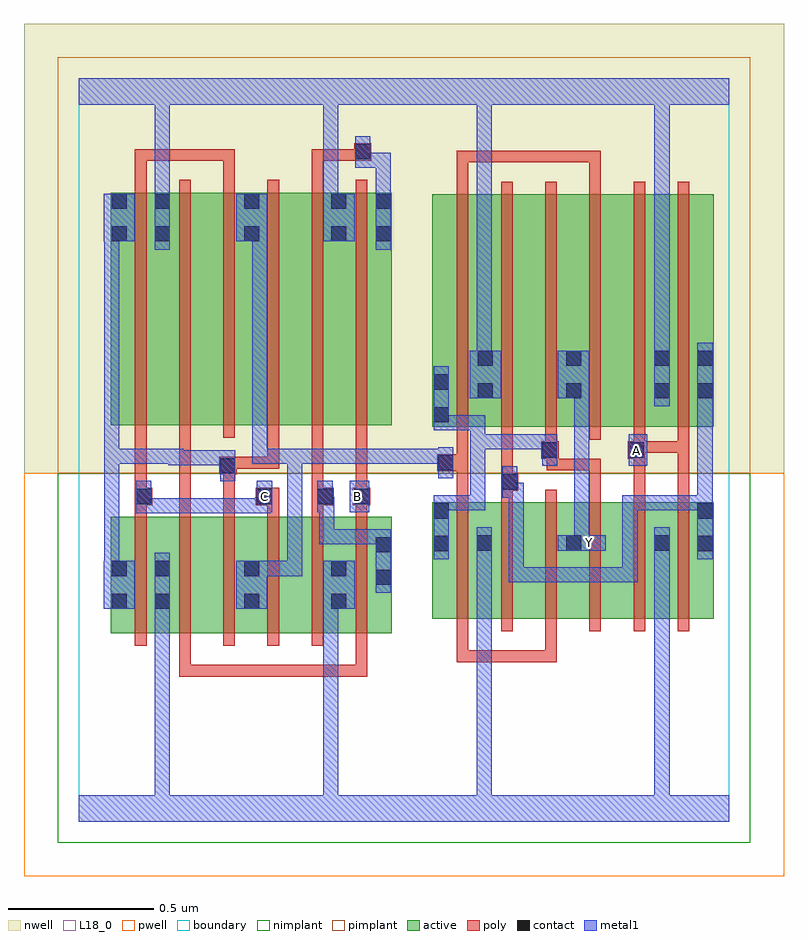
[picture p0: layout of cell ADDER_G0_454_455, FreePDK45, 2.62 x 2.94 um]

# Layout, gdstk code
import gdstk
lib = gdstk.Library(unit=1e-6, precision=1e-09)
def R(c, l, rs):  # rectangles x0, y0, x1, y1
    for r in rs: c.add(gdstk.rectangle(r[:2], r[2:], *l))
def A(c, l, x, y, w, h, nx, ny, dx, dy):  # array of equal rectangles
    R(c, l, [(x+i*dx, y+j*dy, x+i*dx+w, y+j*dy+h) for i in range(nx) for j in range(ny)])
active = (1, 0)
pwell = (2, 0)
nwell = (3, 0)
nimplant = (4, 0)
pimplant = (5, 0)
poly = (9, 0)
contact = (10, 0)
metal1 = (11, 0)
L18_0 = (18, 0)
boundary = (235, 0)

adder_g0_454_455 = lib.new_cell('ADDER_G0_454_455')
R(adder_g0_454_455, active, [(0.11,0.65,0.17,1.05), (0.11,0.65,0.318,1.05), (0.258,0.65,0.442,1.05), (0.258,0.65,0.318,0.902), (0.442,0.65,0.626,1.05), (0.566,0.65,0.746,1.05), (0.566,0.65,0.626,0.902), (0.746,0.65,0.926,1.05), (0.866,0.65,1.078,1.05), (0.866,0.65,0.926,0.902), (1.018,0.65,1.078,1.05), (1.218,0.7,1.278,1.1), (1.218,0.7,1.426,1.1), (1.366,0.7,1.426,0.99), (1.366,0.7,1.55,1.1), (1.55,0.7,1.734,1.1), (1.674,0.7,1.734,1.1), (1.674,0.7,1.854,1.1), (1.854,0.7,2.038,1.1), (1.978,0.7,2.186,1.1), (1.978,0.7,2.038,0.99), (2.126,0.7,2.186,1.1), (1.218,1.36,1.278,2.044), (1.218,1.36,1.43,2.16), (1.37,1.36,1.43,2.044), (1.37,1.36,1.55,2.16), (1.55,1.36,1.734,2.16), (1.674,1.36,1.734,2.044), (1.674,1.36,1.854,2.16), (1.854,1.36,2.038,2.16), (1.978,1.36,2.186,2.16), (1.978,1.36,2.038,2.16), (2.126,1.36,2.186,2.044), (0.11,1.366,0.318,2.166), (0.11,1.366,0.17,2.166), (0.258,1.366,0.318,2.166), (0.258,1.366,0.442,2.166), (0.442,1.366,0.626,2.166), (0.566,1.366,0.626,2.166), (0.566,1.366,0.746,2.166), (0.746,1.366,0.926,2.166), (0.866,1.366,0.926,2.166), (0.866,1.366,1.078,2.166), (1.018,1.366,1.078,2.166)])
R(adder_g0_454_455, pwell, [(-0.188,-0.188,2.428,1.2)])
R(adder_g0_454_455, nwell, [(-0.188,1.2,2.428,2.748)])
R(adder_g0_454_455, nimplant, [(-0.072,-0.072,2.312,1.2)])
R(adder_g0_454_455, pimplant, [(-0.072,1.2,2.312,2.632)])
A(adder_g0_454_455, poly, 0.194, 0.606, 0.04, 0.488, 6, 1, 0.152, 0)
A(adder_g0_454_455, poly, 1.302, 0.656, 0.04, 0.488, 6, 1, 0.152, 0)
A(adder_g0_454_455, poly, 0.65, 1.054, 0.04, 0.076, 3, 1, 0.152, 0)
A(adder_g0_454_455, poly, 1.302, 1.316, 0.04, 0.888, 6, 1, 0.152, 0)
A(adder_g0_454_455, poly, 0.194, 1.322, 0.04, 0.888, 6, 1, 0.152, 0)
A(adder_g0_454_455, poly, 0.194, 2.17, 0.04, 0.146, 3, 1, 0.304, 0)
A(adder_g0_454_455, poly, 0.194, 2.276, 0.04, 0.04, 3, 1, 0.152, 0)
R(adder_g0_454_455, poly, [(0.346,0.5,0.386,0.54), (0.346,0.5,0.386,0.646), (0.346,0.5,0.492,0.54), (0.452,0.5,0.492,0.54), (0.452,0.5,0.492,0.54), (0.452,0.5,0.492,0.54), (0.452,0.5,0.65,0.54), (0.61,0.5,0.65,0.54), (0.61,0.5,0.65,0.54), (0.61,0.5,0.65,0.54), (0.61,0.5,0.878,0.54), (0.838,0.5,0.878,0.54), (0.838,0.5,0.878,0.54), (0.838,0.5,0.878,0.54), (0.838,0.5,0.994,0.54), (0.954,0.5,0.994,0.54), (0.954,0.5,0.994,0.54), (0.954,0.5,0.994,0.54), (0.954,0.5,0.994,0.646), (1.302,0.55,1.342,0.59), (1.302,0.55,1.342,0.59), (1.302,0.55,1.342,0.59), (1.302,0.55,1.342,0.696), (1.302,0.55,1.448,0.59), (1.408,0.55,1.448,0.59), (1.408,0.55,1.448,0.59), (1.408,0.55,1.448,0.59), (1.408,0.55,1.646,0.59), (1.606,0.55,1.646,0.59), (1.606,0.55,1.646,0.696), (0.194,1.054,0.234,1.13), (0.346,1.054,0.386,1.2), (0.498,1.054,0.538,1.236), (0.194,1.09,0.254,1.15), (0.61,1.09,0.69,1.15), (0.802,1.09,0.878,1.15), (0.944,1.09,1.004,1.15), (1.302,1.104,1.342,1.246), (1.454,1.104,1.494,1.18), (1.758,1.104,1.798,1.25), (1.91,1.104,1.95,1.29), (2.062,1.104,2.102,1.31), (0.194,1.11,0.234,1.15), (0.194,1.11,0.234,1.15), (0.194,1.11,0.234,1.362), (0.802,1.11,0.842,1.15), (0.802,1.11,0.842,1.15), (0.802,1.11,0.842,1.362), (0.954,1.11,0.994,1.15), (0.954,1.11,0.994,1.15), (0.954,1.11,0.994,1.362), (1.454,1.14,1.514,1.2), (0.346,1.16,0.386,1.2), (0.346,1.16,0.386,1.2), (0.346,1.16,0.386,1.2), (0.346,1.16,0.386,1.362), (1.454,1.16,1.494,1.2), (1.454,1.16,1.494,1.2), (1.454,1.16,1.494,1.356), (0.484,1.196,0.544,1.256), (0.498,1.196,0.538,1.236), (0.498,1.196,0.538,1.236), (1.234,1.206,1.342,1.266), (1.302,1.206,1.342,1.246), (1.302,1.206,1.342,1.246), (1.612,1.21,1.798,1.25), (1.612,1.21,1.652,1.29), (1.758,1.21,1.798,1.25), (1.758,1.21,1.798,1.25), (1.758,1.21,1.798,1.25), (0.504,1.216,0.69,1.256), (0.65,1.216,0.69,1.256), (0.65,1.216,0.69,1.256), (0.65,1.216,0.69,1.256), (0.65,1.216,0.69,1.362), (1.302,1.226,1.342,1.356), (1.592,1.25,1.652,1.31), (1.612,1.25,1.652,1.29), (1.89,1.25,1.95,1.31), (1.606,1.27,1.646,1.356), (1.91,1.27,1.95,1.356), (1.91,1.27,1.95,1.31), (1.91,1.27,1.95,1.31), (1.91,1.27,2.102,1.31), (2.062,1.27,2.102,1.356), (2.062,1.27,2.102,1.31), (2.062,1.27,2.102,1.31), (2.062,1.27,2.102,1.31), (2.062,1.27,2.102,1.31), (2.062,1.27,2.102,1.31), (1.302,2.164,1.342,2.31), (1.758,2.164,1.798,2.31), (1.302,2.27,1.342,2.31), (1.302,2.27,1.342,2.31), (1.302,2.27,1.342,2.31), (1.302,2.27,1.526,2.31), (1.486,2.27,1.526,2.31), (1.486,2.27,1.526,2.31), (1.486,2.27,1.526,2.31), (1.486,2.27,1.692,2.31), (1.652,2.27,1.692,2.31), (1.652,2.27,1.798,2.31), (1.758,2.27,1.798,2.31), (1.758,2.27,1.798,2.31), (1.758,2.27,1.798,2.31), (0.194,2.276,0.234,2.316), (0.194,2.276,0.234,2.316), (0.194,2.276,0.386,2.316), (0.346,2.276,0.538,2.316), (0.498,2.276,0.538,2.316), (0.498,2.276,0.538,2.316), (0.802,2.276,0.842,2.316), (0.802,2.276,0.988,2.316), (0.948,2.276,0.988,2.316), (0.948,2.276,0.988,2.316), (0.948,2.276,1.008,2.336)])
A(adder_g0_454_455, contact, 1.374, 1.458, 0.052, 0.052, 3, 2, 0.304, 0.112)
R(adder_g0_454_455, contact, [(0.114,0.734,0.166,0.786), (0.262,0.734,0.314,0.786), (0.57,0.734,0.622,0.786), (0.87,0.734,0.922,0.786), (1.022,0.816,1.074,0.868), (0.114,0.846,0.166,0.898), (0.262,0.846,0.314,0.898), (0.57,0.846,0.622,0.898), (0.87,0.846,0.922,0.898), (1.022,0.928,1.074,0.98), (1.222,0.932,1.274,0.984), (2.13,0.932,2.182,0.984), (1.37,0.934,1.422,0.986), (1.678,0.934,1.73,0.986), (1.982,0.934,2.034,0.986), (1.222,1.044,1.274,1.096), (2.13,1.044,2.182,1.096), (0.198,1.094,0.25,1.146), (0.614,1.094,0.666,1.146), (0.822,1.094,0.874,1.146), (0.948,1.094,1,1.146), (1.458,1.144,1.51,1.196), (0.488,1.2,0.54,1.252), (1.238,1.21,1.29,1.262), (1.596,1.254,1.648,1.306), (1.894,1.254,1.946,1.306), (1.222,1.376,1.274,1.428), (2.13,1.458,2.182,1.51), (1.222,1.488,1.274,1.54), (2.13,1.57,2.182,1.622), (0.114,1.998,0.166,2.05), (0.262,1.998,0.314,2.05), (0.57,1.998,0.622,2.05), (0.87,1.998,0.922,2.05), (1.022,1.998,1.074,2.05), (0.114,2.11,0.166,2.162), (0.262,2.11,0.314,2.162), (0.57,2.11,0.622,2.162), (0.87,2.11,0.922,2.162), (1.022,2.11,1.074,2.162), (0.952,2.28,1.004,2.332)])
A(adder_g0_454_455, metal1, 0.088, 1.232, 0.052, 0.052, 3, 1, 0.11, 0)
R(adder_g0_454_455, metal1, [(0,0,2.24,0.092), (0.262,0.04,0.314,0.092), (0.262,0.04,0.314,0.092), (0.262,0.04,0.314,0.092), (0.262,0.04,0.314,0.092), (0.262,0.04,0.314,0.092), (0.262,0.04,0.314,0.092), (0.262,0.04,0.314,0.092), (0.262,0.04,0.314,0.092), (0.262,0.04,0.314,0.092), (0.262,0.04,0.314,0.092), (0.262,0.04,0.314,0.758), (0.842,0.04,0.894,0.092), (0.842,0.04,0.894,0.092), (0.842,0.04,0.894,0.092), (0.842,0.04,0.894,0.092), (0.842,0.04,0.894,0.092), (0.842,0.04,0.894,0.092), (0.842,0.04,0.894,0.092), (0.842,0.04,0.894,0.092), (0.842,0.04,0.894,0.092), (0.842,0.04,0.894,0.092), (0.842,0.04,0.894,0.092), (0.842,0.04,0.894,0.092), (0.842,0.04,0.894,0.786), (1.37,0.04,1.422,0.092), (1.37,0.04,1.422,0.092), (1.37,0.04,1.422,0.092), (1.37,0.04,1.422,0.092), (1.37,0.04,1.422,0.092), (1.37,0.04,1.422,0.092), (1.37,0.04,1.422,0.092), (1.37,0.04,1.422,0.092), (1.37,0.04,1.422,0.092), (1.37,0.04,1.422,0.092), (1.37,0.04,1.422,0.092), (1.37,0.04,1.422,0.092), (1.37,0.04,1.422,0.958), (1.982,0.04,2.034,0.092), (1.982,0.04,2.034,0.092), (1.982,0.04,2.034,0.092), (1.982,0.04,2.034,0.092), (1.982,0.04,2.034,0.092), (1.982,0.04,2.034,0.092), (1.982,0.04,2.034,0.092), (1.982,0.04,2.034,0.092), (1.982,0.04,2.034,0.958), (0.262,0.706,0.314,0.926), (0.262,0.706,0.314,0.758), (0.262,0.706,0.314,0.758), (0.086,0.734,0.194,0.898), (0.542,0.734,0.65,0.898), (0.842,0.734,0.95,0.898), (1.022,0.788,1.074,1.008), (1.48,0.824,1.532,0.876), (1.48,0.824,1.532,0.876), (1.48,0.824,1.532,0.876), (1.48,0.824,1.704,0.876), (1.48,0.824,1.532,1.168), (1.652,0.824,1.704,0.876), (1.652,0.824,1.814,0.876), (1.762,0.824,1.814,0.876), (1.762,0.824,1.814,0.876), (1.762,0.824,1.814,0.876), (1.762,0.824,1.924,0.876), (1.872,0.824,1.924,0.876), (1.872,0.824,1.924,1.124), (0.088,0.846,0.14,0.898), (0.088,0.846,0.14,0.898), (0.088,0.846,0.14,1.284), (0.598,0.846,0.65,0.898), (0.598,0.846,0.65,0.898), (0.598,0.846,0.77,0.898), (0.718,0.846,0.77,0.898), (0.718,0.846,0.77,1.284), (1.222,0.904,1.274,1.124), (2.13,0.904,2.182,1.124), (1.37,0.906,1.422,1.014), (1.982,0.906,2.034,0.958), (1.982,0.906,2.034,0.958), (1.982,0.906,2.034,0.958), (1.982,0.906,2.034,0.958), (1.982,0.906,2.034,1.014), (1.65,0.934,1.758,0.986), (1.706,0.934,1.758,0.986), (1.706,0.934,1.758,1.51), (1.706,0.934,1.814,0.986), (0.828,0.956,0.88,1.008), (0.828,0.956,1.074,1.008), (0.828,0.956,0.88,1.118), (1.022,0.956,1.074,1.008), (1.022,0.956,1.074,1.008), (0.198,1.062,0.25,1.118), (0.198,1.062,0.43,1.114), (0.378,1.062,0.43,1.114), (0.378,1.062,0.43,1.114), (0.378,1.062,0.43,1.114), (0.378,1.062,0.54,1.114), (0.488,1.062,0.54,1.114), (0.488,1.062,0.66,1.114), (0.608,1.062,0.66,1.118), (0.198,1.066,0.25,1.118), (0.198,1.066,0.25,1.174), (0.608,1.066,0.666,1.118), (0.614,1.066,0.666,1.174), (0.822,1.066,0.874,1.174), (0.822,1.066,0.88,1.118), (0.828,1.066,0.88,1.118), (0.934,1.066,1,1.174), (1.222,1.072,1.274,1.124), (1.222,1.072,1.274,1.124), (1.222,1.072,1.4,1.124), (1.348,1.072,1.4,1.124), (1.348,1.072,1.4,1.124), (1.348,1.072,1.4,1.124), (1.348,1.072,1.4,1.334), (1.872,1.072,1.924,1.124), (1.872,1.072,2.034,1.124), (1.982,1.072,2.034,1.124), (1.982,1.072,2.034,1.124), (1.982,1.072,2.034,1.124), (1.982,1.072,2.182,1.124), (2.13,1.072,2.182,1.482), (2.13,1.072,2.182,1.124), (2.13,1.072,2.182,1.124), (2.13,1.072,2.182,1.124), (2.13,1.072,2.182,1.124), (2.13,1.072,2.182,1.124), (2.13,1.072,2.182,1.124), (1.458,1.116,1.51,1.224), (1.458,1.116,1.532,1.168), (1.48,1.116,1.532,1.168), (0.488,1.172,0.54,1.28), (1.238,1.182,1.29,1.29), (1.596,1.226,1.648,1.334), (1.894,1.226,1.958,1.334), (0.308,1.228,0.36,1.284), (0.308,1.228,0.54,1.28), (0.088,1.232,0.14,1.284), (0.088,1.232,0.14,1.284), (0.088,1.232,0.25,1.284), (0.088,1.232,0.14,2.05), (0.198,1.232,0.36,1.284), (0.308,1.232,0.36,1.284), (0.598,1.232,0.65,1.284), (0.598,1.232,0.65,1.284), (0.598,1.232,0.65,1.284), (0.598,1.232,0.77,1.284), (0.598,1.232,0.65,2.05), (0.718,1.232,0.77,1.284), (0.718,1.232,0.77,1.284), (0.718,1.232,0.77,1.284), (0.718,1.232,0.874,1.284), (0.822,1.232,0.874,1.284), (0.822,1.232,0.964,1.284), (0.912,1.232,0.964,1.284), (0.912,1.232,1.164,1.284), (1.112,1.232,1.164,1.284), (1.112,1.232,1.164,1.284), (1.112,1.232,1.164,1.284), (1.112,1.232,1.274,1.284), (1.222,1.232,1.274,1.284), (1.222,1.232,1.29,1.284), (1.348,1.282,1.4,1.334), (1.348,1.282,1.538,1.334), (1.348,1.282,1.4,1.4), (1.486,1.282,1.538,1.334), (1.486,1.282,1.538,1.334), (1.486,1.282,1.538,1.334), (1.486,1.282,1.648,1.334), (1.222,1.348,1.274,1.568), (1.222,1.348,1.274,1.4), (1.222,1.348,1.274,1.4), (1.222,1.348,1.4,1.4), (1.348,1.348,1.4,1.4), (1.982,1.43,2.034,1.65), (2.13,1.43,2.182,1.65), (1.346,1.458,1.454,1.622), (1.65,1.458,1.758,1.622), (1.706,1.458,1.758,1.51), (1.706,1.458,1.758,1.51), (1.37,1.57,1.422,1.622), (1.37,1.57,1.422,1.622), (1.37,1.57,1.422,1.622), (1.37,1.57,1.422,1.622), (1.37,1.57,1.422,1.622), (1.37,1.57,1.422,1.622), (1.37,1.57,1.422,2.52), (1.982,1.598,2.034,1.65), (1.982,1.598,2.034,1.65), (1.982,1.598,2.034,1.65), (1.982,1.598,2.034,1.65), (1.982,1.598,2.034,1.65), (1.982,1.598,2.034,1.65), (1.982,1.598,2.034,2.52), (0.262,1.97,0.314,2.19), (1.022,1.97,1.074,2.19), (0.086,1.998,0.194,2.162), (0.542,1.998,0.65,2.162), (0.842,1.998,0.95,2.162), (0.842,2.11,0.894,2.52), (0.842,2.11,0.894,2.162), (0.842,2.11,0.894,2.162), (0.842,2.11,0.894,2.162), (0.842,2.11,0.894,2.162), (0.262,2.138,0.314,2.19), (0.262,2.138,0.314,2.19), (0.262,2.138,0.314,2.52), (1.022,2.138,1.074,2.304), (0.952,2.252,1.004,2.36), (0.952,2.252,1.074,2.304), (1.022,2.252,1.074,2.304), (0,2.468,2.24,2.56), (0.262,2.468,0.314,2.52), (0.262,2.468,0.314,2.52), (0.262,2.468,0.314,2.52), (0.262,2.468,0.314,2.52), (0.262,2.468,0.314,2.52), (0.262,2.468,0.314,2.52), (0.842,2.468,0.894,2.52), (0.842,2.468,0.894,2.52), (0.842,2.468,0.894,2.52), (0.842,2.468,0.894,2.52), (1.37,2.468,1.422,2.52), (1.37,2.468,1.422,2.52), (1.982,2.468,2.034,2.52), (1.982,2.468,2.034,2.52)])
R(adder_g0_454_455, L18_0, [(0,0,2.24,0.092), (0.262,0.04,0.314,0.092), (0.262,0.04,0.314,0.092), (0.262,0.04,0.314,0.092), (0.262,0.04,0.314,0.092), (0.262,0.04,0.314,0.092), (0.262,0.04,0.314,0.092), (0.262,0.04,0.314,0.092), (0.262,0.04,0.314,0.092), (0.262,0.04,0.314,0.092), (0.262,0.04,0.314,0.092), (0.262,0.04,0.314,0.758), (0.842,0.04,0.894,0.092), (0.842,0.04,0.894,0.092), (0.842,0.04,0.894,0.092), (0.842,0.04,0.894,0.092), (0.842,0.04,0.894,0.092), (0.842,0.04,0.894,0.092), (0.842,0.04,0.894,0.092), (0.842,0.04,0.894,0.092), (0.842,0.04,0.894,0.092), (0.842,0.04,0.894,0.092), (0.842,0.04,0.894,0.092), (0.842,0.04,0.894,0.092), (0.842,0.04,0.894,0.786), (1.37,0.04,1.422,0.092), (1.37,0.04,1.422,0.092), (1.37,0.04,1.422,0.092), (1.37,0.04,1.422,0.092), (1.37,0.04,1.422,0.092), (1.37,0.04,1.422,0.092), (1.37,0.04,1.422,0.092), (1.37,0.04,1.422,0.092), (1.37,0.04,1.422,0.092), (1.37,0.04,1.422,0.092), (1.37,0.04,1.422,0.092), (1.37,0.04,1.422,0.092), (1.37,0.04,1.422,0.958), (1.982,0.04,2.034,0.092), (1.982,0.04,2.034,0.092), (1.982,0.04,2.034,0.092), (1.982,0.04,2.034,0.092), (1.982,0.04,2.034,0.092), (1.982,0.04,2.034,0.092), (1.982,0.04,2.034,0.092), (1.982,0.04,2.034,0.092), (1.982,0.04,2.034,0.958), (0.262,0.706,0.314,0.758), (0.262,0.706,0.314,0.758), (0.262,0.706,0.314,0.926), (0.842,0.734,0.95,0.898), (1.37,0.906,1.422,1.014), (1.982,0.906,2.034,1.014), (1.982,0.906,2.034,0.958), (1.982,0.906,2.034,0.958), (1.982,0.906,2.034,0.958), (1.982,0.906,2.034,0.958), (1.65,0.934,1.758,0.986), (1.706,0.934,1.758,0.986), (1.706,0.934,1.814,0.986), (1.706,0.934,1.758,1.51), (1.734,0.934,1.786,0.986), (0.198,1.062,0.25,1.118), (0.198,1.062,0.43,1.114), (0.378,1.062,0.43,1.114), (0.378,1.062,0.43,1.114), (0.378,1.062,0.43,1.114), (0.378,1.062,0.54,1.114), (0.488,1.062,0.54,1.114), (0.488,1.062,0.66,1.114), (0.608,1.062,0.66,1.118), (0.198,1.066,0.25,1.174), (0.198,1.066,0.25,1.118), (0.608,1.066,0.666,1.118), (0.614,1.066,0.666,1.174), (0.934,1.066,1,1.174), (0.614,1.094,0.666,1.146), (0.934,1.094,0.986,1.146), (1.894,1.226,1.958,1.334), (1.894,1.254,1.946,1.306), (1.982,1.43,2.034,1.65), (1.346,1.458,1.454,1.622), (1.65,1.458,1.758,1.622), (1.706,1.458,1.758,1.51), (1.706,1.458,1.758,1.51), (1.37,1.57,1.422,1.622), (1.37,1.57,1.422,1.622), (1.37,1.57,1.422,1.622), (1.37,1.57,1.422,1.622), (1.37,1.57,1.422,1.622), (1.37,1.57,1.422,1.622), (1.37,1.57,1.422,2.52), (1.982,1.598,2.034,1.65), (1.982,1.598,2.034,1.65), (1.982,1.598,2.034,1.65), (1.982,1.598,2.034,1.65), (1.982,1.598,2.034,1.65), (1.982,1.598,2.034,1.65), (1.982,1.598,2.034,2.52), (0.262,1.97,0.314,2.19), (0.842,1.998,0.95,2.162), (0.842,2.11,0.894,2.162), (0.842,2.11,0.894,2.162), (0.842,2.11,0.894,2.162), (0.842,2.11,0.894,2.162), (0.842,2.11,0.894,2.52), (0.262,2.138,0.314,2.19), (0.262,2.138,0.314,2.19), (0.262,2.138,0.314,2.52), (0,2.468,2.24,2.56), (0.262,2.468,0.314,2.52), (0.262,2.468,0.314,2.52), (0.262,2.468,0.314,2.52), (0.262,2.468,0.314,2.52), (0.262,2.468,0.314,2.52), (0.262,2.468,0.314,2.52), (0.842,2.468,0.894,2.52), (0.842,2.468,0.894,2.52), (0.842,2.468,0.894,2.52), (0.842,2.468,0.894,2.52), (1.37,2.468,1.422,2.52), (1.37,2.468,1.422,2.52), (1.982,2.468,2.034,2.52), (1.982,2.468,2.034,2.52)])
R(adder_g0_454_455, boundary, [(0,0,2.24,2.56)])
adder_g0_454_455.add(gdstk.Label('A', (1.92,1.28), layer=11, texttype=0))
adder_g0_454_455.add(gdstk.Label('B', (0.96,1.12), layer=11, texttype=0))
adder_g0_454_455.add(gdstk.Label('C', (0.64,1.12), layer=11, texttype=0))
adder_g0_454_455.add(gdstk.Label('Y', (1.76,0.96), layer=11, texttype=0))

lib.write_gds('ADDER_G0_454_455.gds')
